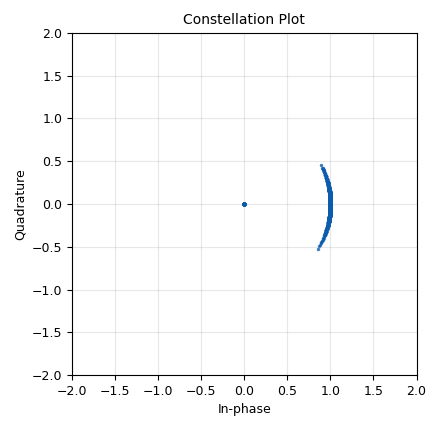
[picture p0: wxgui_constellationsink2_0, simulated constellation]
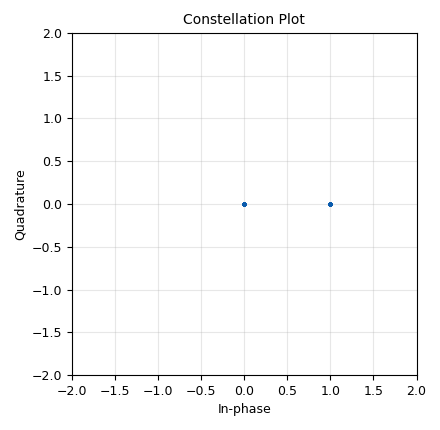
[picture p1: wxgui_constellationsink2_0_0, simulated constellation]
<?xml version='1.0' encoding='utf-8'?>
<?grc format='1' created='3.7.11'?>
<flow_graph>
<block>
<key>options</key>
<param><key>id</key><value>top_block</value></param>
<param><key>generate_options</key><value>wx_gui</value></param>
</block>
<block>
<key>variable</key>
<param><key>id</key><value>FMCOMMS_LO</value></param>
<param><key>value</key><value>2.4e9</value></param>
</block>
<block>
<key>variable</key>
<param><key>id</key><value>FMCOMMS_RFband</value></param>
<param><key>value</key><value>20e6</value></param>
</block>
<block>
<key>variable</key>
<param><key>id</key><value>FMCOMMS_samp_rate</value></param>
<param><key>value</key><value>2084000</value></param>
</block>
<block>
<key>variable</key>
<param><key>id</key><value>fs</value></param>
<param><key>value</key><value>1000</value></param>
</block>
<block>
<key>variable</key>
<param><key>id</key><value>samp_rate</value></param>
<param><key>value</key><value>10e6</value></param>
</block>
<block>
<key>analog_random_source_x</key>
<param><key>id</key><value>analog_random_source_x_0</value></param>
<param><key>max</key><value>2</value></param>
<param><key>min</key><value>0</value></param>
<param><key>num_samps</key><value>1000</value></param>
<param><key>type</key><value>int</value></param>
<param><key>repeat</key><value>True</value></param>
</block>
<block>
<key>blocks_float_to_complex</key>
<param><key>id</key><value>blocks_float_to_complex_0</value></param>
</block>
<block>
<key>blocks_int_to_float</key>
<param><key>id</key><value>blocks_int_to_float_0</value></param>
<param><key>scale</key><value>1</value></param>
</block>
<block>
<key>channels_phase_noise_gen</key>
<param><key>id</key><value>channels_phase_noise_gen_0</value></param>
<param><key>alpha</key><value>0.1</value></param>
<param><key>noise_mag</key><value>0.69</value></param>
</block>
<block>
<key>parameter</key>
<param><key>id</key><value>uri</value></param>
<param><key>label</key><value>URI</value></param>
<param><key>type</key><value>string</value></param>
<param><key>value</key><value>'ip:10.43.156.133'</value></param>
</block>
<block>
<key>wxgui_constellationsink2</key>
<param><key>id</key><value>wxgui_constellationsink2_0</value></param>
<param><key>const_size</key><value>2048</value></param>
<param><key>frame_rate</key><value>5</value></param>
<param><key>gain_mu</key><value>0.005</value></param>
<param><key>loop_bw</key><value>6.28/100.0</value></param>
<param><key>M</key><value>2</value></param>
<param><key>fmax</key><value>0.06</value></param>
<param><key>mu</key><value>0.5</value></param>
<param><key>omega_limit</key><value>0.005</value></param>
<param><key>samp_rate</key><value>samp_rate</value></param>
<param><key>symbol_rate</key><value>samp_rate/4.</value></param>
<param><key>theta</key><value>0</value></param>
<param><key>title</key><value>Constellation Plot</value></param>
</block>
<block>
<key>wxgui_constellationsink2</key>
<param><key>id</key><value>wxgui_constellationsink2_0_0</value></param>
<param><key>const_size</key><value>2048</value></param>
<param><key>frame_rate</key><value>5</value></param>
<param><key>gain_mu</key><value>0.005</value></param>
<param><key>loop_bw</key><value>6.28/100.0</value></param>
<param><key>M</key><value>2</value></param>
<param><key>fmax</key><value>0.06</value></param>
<param><key>mu</key><value>0.5</value></param>
<param><key>omega_limit</key><value>0.005</value></param>
<param><key>samp_rate</key><value>samp_rate</value></param>
<param><key>symbol_rate</key><value>samp_rate/4.</value></param>
<param><key>theta</key><value>0</value></param>
<param><key>title</key><value>Constellation Plot</value></param>
</block>
<connection><source_block_id>analog_random_source_x_0</source_block_id><sink_block_id>blocks_int_to_float_0</sink_block_id><source_key>0</source_key><sink_key>0</sink_key></connection>
<connection><source_block_id>blocks_float_to_complex_0</source_block_id><sink_block_id>channels_phase_noise_gen_0</sink_block_id><source_key>0</source_key><sink_key>0</sink_key></connection>
<connection><source_block_id>blocks_float_to_complex_0</source_block_id><sink_block_id>wxgui_constellationsink2_0_0</sink_block_id><source_key>0</source_key><sink_key>0</sink_key></connection>
<connection><source_block_id>blocks_int_to_float_0</source_block_id><sink_block_id>blocks_float_to_complex_0</sink_block_id><source_key>0</source_key><sink_key>0</sink_key></connection>
<connection><source_block_id>channels_phase_noise_gen_0</source_block_id><sink_block_id>wxgui_constellationsink2_0</sink_block_id><source_key>0</source_key><sink_key>0</sink_key></connection>
</flow_graph>
